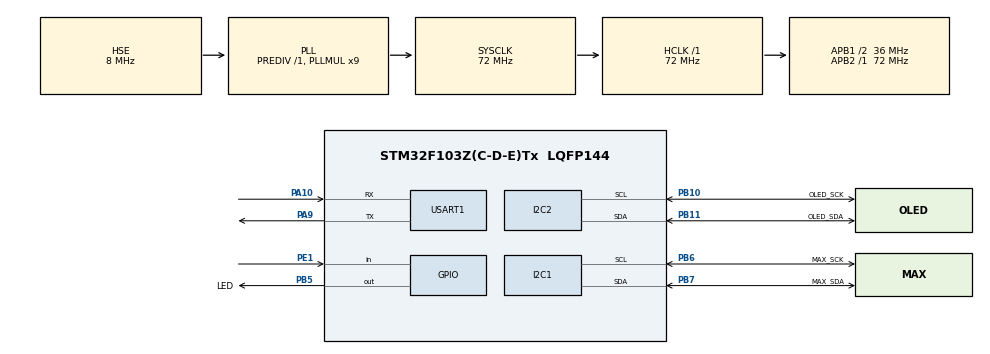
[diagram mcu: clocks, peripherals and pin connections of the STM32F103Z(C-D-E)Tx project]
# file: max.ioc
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I2C1.I2C_Mode=I2C_Fast
I2C2.I2C_Mode=I2C_Fast
Mcu.Family=STM32F1
Mcu.Name=STM32F103Z(C-D-E)Tx
Mcu.Package=LQFP144
NVIC.I2C2_EV_IRQn=true\:1\:0\:true\:false\:true\:true\:true
NVIC.PriorityGroup=NVIC_PRIORITYGROUP_4
OSC_IN.Mode=HSE-External-Oscillator
OSC_IN.Signal=RCC_OSC_IN
OSC_OUT.Mode=HSE-External-Oscillator
OSC_OUT.Signal=RCC_OSC_OUT
PA10.Mode=Asynchronous
PA10.Signal=USART1_RX
PA13.Mode=Serial_Wire
PA13.Signal=SYS_JTMS-SWDIO
PA14.Mode=Serial_Wire
PA14.Signal=SYS_JTCK-SWCLK
PA9.Mode=Asynchronous
PA9.Signal=USART1_TX
PB10.GPIO_Label=OLED_SCK
PB10.Mode=I2C
PB10.Signal=I2C2_SCL
PB11.GPIO_Label=OLED_SDA
PB11.Mode=I2C
PB11.Signal=I2C2_SDA
PB5.GPIO_Label=LED
PB5.PinState=GPIO_PIN_SET
PB5.Signal=GPIO_Output
PB6.GPIO_Label=MAX_SCK
PB6.Mode=I2C
PB6.Signal=I2C1_SCL
PB7.GPIO_Label=MAX_SDA
PB7.Mode=I2C
PB7.Signal=I2C1_SDA
PE1.Signal=GPIO_Input
ProjectManager.HeapSize=0x200
ProjectManager.StackSize=0x400
ProjectManager.TargetToolchain=MDK-ARM V5.32
RCC.AHBFreq_Value=72000000
RCC.APB1CLKDivider=RCC_HCLK_DIV2
RCC.APB1Freq_Value=36000000
RCC.APB1TimFreq_Value=72000000
RCC.APB2Freq_Value=72000000
RCC.APB2TimFreq_Value=72000000
RCC.HCLKFreq_Value=72000000
RCC.PLLMUL=RCC_PLL_MUL9
RCC.PLLSourceVirtual=RCC_PLLSOURCE_HSE
RCC.SYSCLKFreq_VALUE=72000000
RCC.SYSCLKSource=RCC_SYSCLKSOURCE_PLLCLK
RCC.USBFreq_Value=72000000
USART1.VirtualMode=VM_ASYNC
board=custom

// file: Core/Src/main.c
/* USER CODE BEGIN Header */
/**
  ******************************************************************************
  * @file           : main.c
  * @brief          : Main program body
  ******************************************************************************
  * @attention
  *
  * Copyright (c) 2022 STMicroelectronics.
  * All rights reserved.
  *
  * This software is licensed under terms that can be found in the LICENSE file
  * in the root directory of this software component.
  * If no LICENSE file comes with this software, it is provided AS-IS.
  *
  ******************************************************************************
  */
/* USER CODE END Header */
#include "main.h"
#include "i2c.h"
#include "usart.h"
#include "gpio.h"

/* USER CODE BEGIN Includes */
#include "oled.h"
#include "max30102.h"
/* USER CODE END Includes */

/* USER CODE BEGIN PV */

char UartBuffer[32];
/* USER CODE END PV */

void SystemClock_Config(void);

/* USER CODE BEGIN 0 */
//void USART1_SendString(char* s) {
//	HAL_UART_Transmit(&huart1, (uint8_t*) s, strlen(s), 1000);
//}
/* USER CODE END 0 */

int main(void)
{

  /* MCU Configuration--------------------------------------------------------*/

  /* Reset of all peripherals, Initializes the Flash interface and the Systick. */
  HAL_Init();

  /* Configure the system clock */
  SystemClock_Config();

  /* Initialize all configured peripherals */
  MX_GPIO_Init();
  MX_I2C1_Init();
  MX_USART1_UART_Init();
  MX_I2C2_Init();
  /* USER CODE BEGIN 2 */
    HAL_Delay(200);
    OLED_Init();
    max30102_init();

  /* USER CODE END 2 */

  /* Infinite loop */
  while (1)
  {

    /* USER CODE BEGIN 3 */
        if (HAL_GPIO_ReadPin(GPIOE, GPIO_PIN_1) == GPIO_PIN_RESET)
        {
            HAL_GPIO_TogglePin(GPIOB, GPIO_PIN_5);
            max30102_cal();

            uint8_t spo2 = max30102_getSpO2();
            uint8_t heartReat = max30102_getHeartRate();
            // ��ʾ����
            if (heartReat % 1000 / 100 > 0)
                OLED_showNum(0, heartReat % 1000 / 100);
            else
                OLED_showNum(0, 10);
            OLED_showNum(1, heartReat % 100 / 10);
            OLED_showNum(2, heartReat % 10);
            // ��ʾѪ��
            if (spo2 % 1000 / 100 > 0)
                OLED_showNum(3, spo2 % 1000 / 100);
            else
                OLED_showNum(3, 10);
            OLED_showNum(4, spo2 % 100 / 10);
            OLED_showNum(5, spo2 % 10);
            // ��ͼ��
            int16_t diff = max30102_getDiff();
            OLED_drawChart(diff);
            if (diff > 50)
                OLED_showHeart(0);
            else
                OLED_showHeart(1);

        }

  }
  /* USER CODE END 3 */
}

void SystemClock_Config(void)
{
  RCC_OscInitTypeDef RCC_OscInitStruct = {0};
  RCC_ClkInitTypeDef RCC_ClkInitStruct = {0};

  /** Initializes the RCC Oscillators according to the specified parameters
  * in the RCC_OscInitTypeDef structure.
  */
  RCC_OscInitStruct.OscillatorType = RCC_OSCILLATORTYPE_HSE;
  RCC_OscInitStruct.HSEState = RCC_HSE_ON;
  RCC_OscInitStruct.HSEPredivValue = RCC_HSE_PREDIV_DIV1;
  RCC_OscInitStruct.HSIState = RCC_HSI_ON;
  RCC_OscInitStruct.PLL.PLLState = RCC_PLL_ON;
  RCC_OscInitStruct.PLL.PLLSource = RCC_PLLSOURCE_HSE;
  RCC_OscInitStruct.PLL.PLLMUL = RCC_PLL_MUL9;
  if (HAL_RCC_OscConfig(&RCC_OscInitStruct) != HAL_OK)
  {
    Error_Handler();
  }
  /** Initializes the CPU, AHB and APB buses clocks
  */
  RCC_ClkInitStruct.ClockType = RCC_CLOCKTYPE_HCLK|RCC_CLOCKTYPE_SYSCLK
                              |RCC_CLOCKTYPE_PCLK1|RCC_CLOCKTYPE_PCLK2;
  RCC_ClkInitStruct.SYSCLKSource = RCC_SYSCLKSOURCE_PLLCLK;
  RCC_ClkInitStruct.AHBCLKDivider = RCC_SYSCLK_DIV1;
  RCC_ClkInitStruct.APB1CLKDivider = RCC_HCLK_DIV2;
  RCC_ClkInitStruct.APB2CLKDivider = RCC_HCLK_DIV1;

  if (HAL_RCC_ClockConfig(&RCC_ClkInitStruct, FLASH_LATENCY_2) != HAL_OK)
  {
    Error_Handler();
  }
}

/* USER CODE BEGIN 4 */
//void HAL_GPIO_EXTI_Callback(uint16_t GPIO_Pin) {
//	if (GPIO_Pin == GPIO_PIN_1) {
//		Max30102_InterruptCallback();
//	}
//}
/* USER CODE END 4 */

void Error_Handler(void)
{
  __disable_irq();
  while (1)
  {
  }
}
